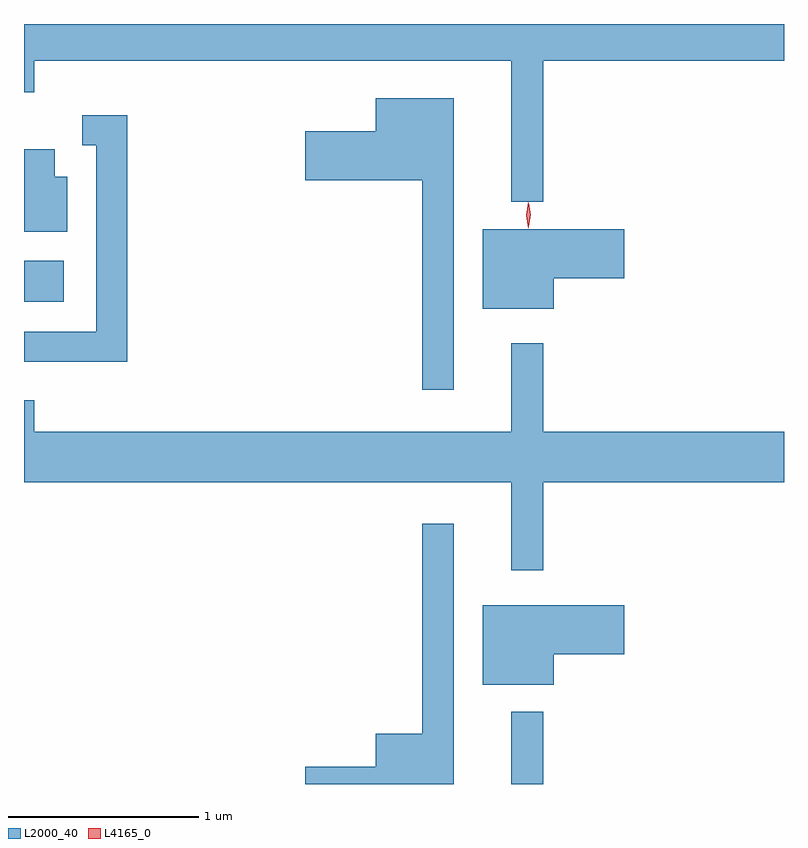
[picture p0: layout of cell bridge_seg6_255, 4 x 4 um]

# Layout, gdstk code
import gdstk
lib = gdstk.Library(unit=1e-6, precision=1e-09)
def R(c, l, rs):  # rectangles x0, y0, x1, y1
    for r in rs: c.add(gdstk.rectangle(r[:2], r[2:], *l))
def P(c, l, *ps):  # polygons
    for p in ps: c.add(gdstk.Polygon(p, *l))
L2000_40 = (2000, 40)
L4165_0 = (4165, 0)

bridge_seg6_255 = lib.new_cell('bridge_seg6_255')
R(bridge_seg6_255, L2000_40, [(1260.891,1568.429,1261.059,1568.808), (1258.326,1570.966,1258.534,1571.184)])
P(bridge_seg6_255, L2000_40, [(1261.059,1572.236),(1262.326,1572.236),(1262.326,1572.429),(1258.326,1572.429),(1258.326,1572.071),(1258.379,1572.071),(1258.379,1572.236),(1260.891,1572.236),(1260.891,1571.493),(1261.059,1571.493)],
  [(1260.589,1572.039),(1260.176,1572.039),(1260.176,1571.864),(1259.806,1571.864),(1259.806,1571.606),(1260.421,1571.606),(1260.421,1570.503),(1260.589,1570.503)],
  [(1258.869,1571.949),(1258.633,1571.949),(1258.633,1571.791),(1258.706,1571.791),(1258.706,1570.809),(1258.326,1570.809),(1258.326,1570.651),(1258.869,1570.651)],
  [(1258.554,1571.624),(1258.489,1571.624),(1258.489,1571.769),(1258.326,1571.769),(1258.326,1571.336),(1258.554,1571.336)],
  [(1261.114,1571.091),(1261.484,1571.091),(1261.484,1571.349),(1260.741,1571.349),(1260.741,1570.931),(1261.114,1570.931)],
  [(1261.059,1570.016),(1262.326,1570.016),(1262.326,1570.284),(1261.059,1570.284),(1261.059,1570.748),(1260.891,1570.748),(1260.891,1570.284),(1258.379,1570.284),(1258.379,1570.449),(1258.326,1570.449),(1258.326,1570.016),(1260.891,1570.016),(1260.891,1569.553),(1261.059,1569.553)],
  [(1260.589,1569.798),(1260.421,1569.798),(1260.421,1568.694),(1260.176,1568.694),(1260.176,1568.519),(1259.806,1568.519),(1259.806,1568.429),(1260.589,1568.429)],
  [(1261.114,1569.111),(1261.484,1569.111),(1261.484,1569.369),(1260.741,1569.369),(1260.741,1568.951),(1261.114,1568.951)])
P(bridge_seg6_255, L4165_0, [(1260.979,1571.354),(1260.979,1571.354),(1260.97,1571.422),(1260.98,1571.49),(1260.981,1571.49),(1260.981,1571.49),(1260.99,1571.422),(1260.98,1571.354)],
  [(1260.982,1571.36),(1260.982,1571.361),(1260.972,1571.424),(1260.98,1571.486),(1260.981,1571.487),(1260.982,1571.486),(1260.992,1571.424),(1260.983,1571.361)])

lib.write_gds('bridge_seg6_255.gds')
